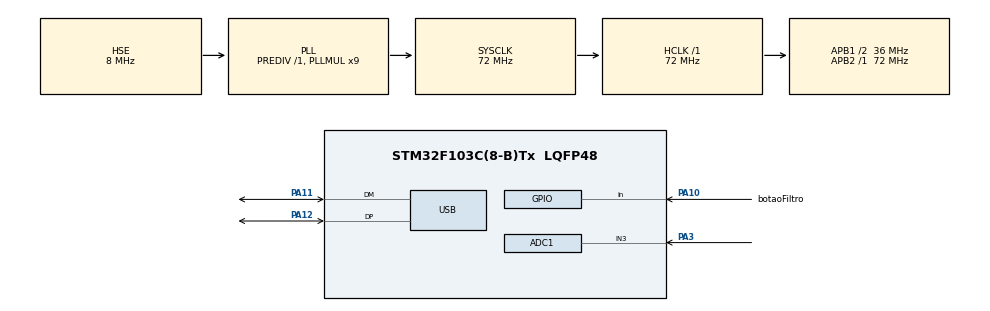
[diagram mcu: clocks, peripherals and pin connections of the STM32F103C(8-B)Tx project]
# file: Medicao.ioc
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ADC1.Channel-0\#ChannelRegularConversion=ADC_CHANNEL_3
ADC1.NbrOfConversionFlag=1
ADC1.Rank-0\#ChannelRegularConversion=1
ADC1.SamplingTime-0\#ChannelRegularConversion=ADC_SAMPLETIME_55CYCLES_5
ADC1.master=1
Mcu.Family=STM32F1
Mcu.Name=STM32F103C(8-B)Tx
Mcu.Package=LQFP48
NVIC.PriorityGroup=NVIC_PRIORITYGROUP_4
NVIC.USB_LP_CAN1_RX0_IRQn=true\:0\:0\:false\:false\:true\:false\:true
PA10.GPIO_Label=botaoFiltro
PA10.GPIO_PuPd=GPIO_PULLUP
PA10.Signal=GPIO_Input
PA11.Mode=Device
PA11.Signal=USB_DM
PA12.Mode=Device
PA12.Signal=USB_DP
PA13.Mode=Serial_Wire
PA13.Signal=SYS_JTMS-SWDIO
PA14.Mode=Serial_Wire
PA14.Signal=SYS_JTCK-SWCLK
PA3.Signal=ADCx_IN3
PD0-OSC_IN.Mode=HSE-External-Oscillator
PD0-OSC_IN.Signal=RCC_OSC_IN
PD1-OSC_OUT.Mode=HSE-External-Oscillator
PD1-OSC_OUT.Signal=RCC_OSC_OUT
ProjectManager.HeapSize=0x200
ProjectManager.StackSize=0x400
ProjectManager.TargetToolchain=STM32CubeIDE
RCC.ADCPresc=RCC_ADCPCLK2_DIV6
RCC.AHBFreq_Value=72000000
RCC.APB1CLKDivider=RCC_HCLK_DIV2
RCC.APB1Freq_Value=36000000
RCC.APB1TimFreq_Value=72000000
RCC.APB2Freq_Value=72000000
RCC.APB2TimFreq_Value=72000000
RCC.HCLKFreq_Value=72000000
RCC.PLLMUL=RCC_PLL_MUL9
RCC.SYSCLKFreq_VALUE=72000000
RCC.SYSCLKSource=RCC_SYSCLKSOURCE_PLLCLK
RCC.USBFreq_Value=48000000
RCC.USBPrescaler=RCC_USBCLKSOURCE_PLL_DIV1_5
SH.ADCx_IN3.0=ADC1_IN3,IN3
USB_DEVICE.CLASS_NAME_FS=CDC
USB_DEVICE.VirtualMode=Cdc
USB_DEVICE.VirtualModeFS=Cdc_FS
VP_USB_DEVICE_VS_USB_DEVICE_CDC_FS.Mode=CDC_FS
board=custom

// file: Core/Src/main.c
/* USER CODE BEGIN Header */
/**
  ******************************************************************************
  * @file           : main.c
  * @brief          : Main program body
  ******************************************************************************
  * @attention
  *
  * <h2><center>&copy; Copyright (c) 2026 STMicroelectronics.
  * All rights reserved.</center></h2>
  *
  * This software component is licensed by ST under BSD 3-Clause license,
  * the "License"; You may not use this file except in compliance with the
  * License. You may obtain a copy of the License at:
  *                        opensource.org/licenses/BSD-3-Clause
  *
  ******************************************************************************
  */
/* USER CODE END Header */
#include "main.h"
#include "usb_device.h"

/* USER CODE BEGIN Includes */
#include <stdio.h>
#include <stdint.h>
#include <stdbool.h>
#include "usbd_cdc_if.h"
/* USER CODE END Includes */

/* USER CODE BEGIN PD */
/* ==========================================================
 * PROTOCOLO PROPRIET�?RIO
 *
 * AA 01 02 FILTRO ADC_H ADC_L CHECKSUM CC
 *
 * Byte 0 = início
 * Byte 1 = versão
 * Byte 2 = tipo
 * Byte 3 = estado do filtro
 * Byte 4 = ADC alto
 * Byte 5 = ADC baixo
 * Byte 6 = checksum
 * Byte 7 = fim
 * ========================================================== */

#define BYTE_START             0xAA
#define VERSAO_PROTOCOLO       0x01
#define TIPO_LEITURA_SENSOR    0x02
#define BYTE_FIM               0xCC

#define TAMANHO_PACOTE         8

#define ADC_MIN                0
#define ADC_MAX                4095

#define TAMANHO_JANELA_MEDIA   5

#define CLICK_BOTAO  	HAL_GPIO_ReadPin(botaoFiltro_GPIO_Port, botaoFiltro_Pin)

/* USER CODE END PD */

ADC_HandleTypeDef hadc1;

/* USER CODE BEGIN PV */
static uint16_t buffer_media[TAMANHO_JANELA_MEDIA] = {0};

static uint8_t indice_buffer = 0;

static uint8_t buffer_cheio = 0;

uint32_t ultimoEnvio = 0;

uint8_t filtro_ativo = 0;
uint8_t botaoAnterior = 1;

/* USER CODE END PV */

void SystemClock_Config(void);
static void MX_GPIO_Init(void);
static void MX_ADC1_Init(void);
/* USER CODE BEGIN PFP */
void MontarPacote(uint16_t valor_adc, uint8_t filtro_ativo, uint8_t *pacote);

void AdicionarAmostra(uint16_t nova_amostra);

uint16_t CalcularMediaMovel(void);

uint8_t LerBotao(void);

uint8_t CalcularChecksum(uint8_t versao, uint8_t tipo, uint8_t filtro, uint8_t adc_alto, uint8_t adc_baixo);

/* USER CODE END PFP */

int main(void)
{

  /* MCU Configuration--------------------------------------------------------*/

  /* Reset of all peripherals, Initializes the Flash interface and the Systick. */
  HAL_Init();

  /* Configure the system clock */
  SystemClock_Config();

  /* Initialize all configured peripherals */
  MX_GPIO_Init();
  MX_ADC1_Init();
  MX_USB_DEVICE_Init();
  /* USER CODE BEGIN 2 */
  /* Estado atual do filtro */
  uint8_t filtro_ativo = 0;

  /* Pacote de transmissão */
  uint8_t pacote[TAMANHO_PACOTE];
  /* USER CODE END 2 */

  /* Infinite loop */
  /* USER CODE BEGIN WHILE */
  while (1)
  {
	  /* Verifica o botão continuamente */
	      if (LerBotao())
	      {
	          filtro_ativo = !filtro_ativo;

	          // Quando o filtro for ativado,
	             // começa uma nova janela de média.
	             if (filtro_ativo)
	             {
	                 indice_buffer = 0;
	                 buffer_cheio = 0;
	             }
	      }

	      /* A cada 1 segundo, faz uma nova leitura e envia para a porta COM */
	      if (HAL_GetTick() - ultimoEnvio >= 1000)
	      {
	          ultimoEnvio = HAL_GetTick();

	          HAL_ADC_Start(&hadc1);

	          if (HAL_ADC_PollForConversion(&hadc1, 10) == HAL_OK)
	          {
	              uint16_t leitura_bruta = HAL_ADC_GetValue(&hadc1);

	              /* Adiciona a leitura atual ao buffer */
	              AdicionarAmostra(leitura_bruta);

	              uint16_t valor_final;

	              if (filtro_ativo)
	              {
	                  valor_final = CalcularMediaMovel();
	              }
	              else
	              {
	                  valor_final = leitura_bruta;
	              }

	              /* Monta e envia o pacote */
	              MontarPacote(valor_final, filtro_ativo, pacote);

	              CDC_Transmit_FS(pacote, TAMANHO_PACOTE);
	          }

	          HAL_ADC_Stop(&hadc1);
	      }
    /* USER CODE END WHILE */

  }
}

void SystemClock_Config(void)
{
  RCC_OscInitTypeDef RCC_OscInitStruct = {0};
  RCC_ClkInitTypeDef RCC_ClkInitStruct = {0};
  RCC_PeriphCLKInitTypeDef PeriphClkInit = {0};

  /** Initializes the RCC Oscillators according to the specified parameters
  * in the RCC_OscInitTypeDef structure.
  */
  RCC_OscInitStruct.OscillatorType = RCC_OSCILLATORTYPE_HSE;
  RCC_OscInitStruct.HSEState = RCC_HSE_ON;
  RCC_OscInitStruct.HSEPredivValue = RCC_HSE_PREDIV_DIV1;
  RCC_OscInitStruct.HSIState = RCC_HSI_ON;
  RCC_OscInitStruct.PLL.PLLState = RCC_PLL_ON;
  RCC_OscInitStruct.PLL.PLLSource = RCC_PLLSOURCE_HSE;
  RCC_OscInitStruct.PLL.PLLMUL = RCC_PLL_MUL9;
  if (HAL_RCC_OscConfig(&RCC_OscInitStruct) != HAL_OK)
  {
    Error_Handler();
  }
  /** Initializes the CPU, AHB and APB buses clocks
  */
  RCC_ClkInitStruct.ClockType = RCC_CLOCKTYPE_HCLK|RCC_CLOCKTYPE_SYSCLK
                              |RCC_CLOCKTYPE_PCLK1|RCC_CLOCKTYPE_PCLK2;
  RCC_ClkInitStruct.SYSCLKSource = RCC_SYSCLKSOURCE_PLLCLK;
  RCC_ClkInitStruct.AHBCLKDivider = RCC_SYSCLK_DIV1;
  RCC_ClkInitStruct.APB1CLKDivider = RCC_HCLK_DIV2;
  RCC_ClkInitStruct.APB2CLKDivider = RCC_HCLK_DIV1;

  if (HAL_RCC_ClockConfig(&RCC_ClkInitStruct, FLASH_LATENCY_2) != HAL_OK)
  {
    Error_Handler();
  }
  PeriphClkInit.PeriphClockSelection = RCC_PERIPHCLK_ADC|RCC_PERIPHCLK_USB;
  PeriphClkInit.AdcClockSelection = RCC_ADCPCLK2_DIV6;
  PeriphClkInit.UsbClockSelection = RCC_USBCLKSOURCE_PLL_DIV1_5;
  if (HAL_RCCEx_PeriphCLKConfig(&PeriphClkInit) != HAL_OK)
  {
    Error_Handler();
  }
}

static void MX_ADC1_Init(void)
{

  ADC_ChannelConfTypeDef sConfig = {0};

  /** Common config
  */
  hadc1.Instance = ADC1;
  hadc1.Init.ScanConvMode = ADC_SCAN_DISABLE;
  hadc1.Init.ContinuousConvMode = DISABLE;
  hadc1.Init.DiscontinuousConvMode = DISABLE;
  hadc1.Init.ExternalTrigConv = ADC_SOFTWARE_START;
  hadc1.Init.DataAlign = ADC_DATAALIGN_RIGHT;
  hadc1.Init.NbrOfConversion = 1;
  if (HAL_ADC_Init(&hadc1) != HAL_OK)
  {
    Error_Handler();
  }
  /** Configure Regular Channel
  */
  sConfig.Channel = ADC_CHANNEL_3;
  sConfig.Rank = ADC_REGULAR_RANK_1;
  sConfig.SamplingTime = ADC_SAMPLETIME_55CYCLES_5;
  if (HAL_ADC_ConfigChannel(&hadc1, &sConfig) != HAL_OK)
  {
    Error_Handler();
  }

}

static void MX_GPIO_Init(void)
{
  GPIO_InitTypeDef GPIO_InitStruct = {0};

  /* GPIO Ports Clock Enable */
  __HAL_RCC_GPIOD_CLK_ENABLE();
  __HAL_RCC_GPIOA_CLK_ENABLE();

  /*Configure GPIO pin : botaoFiltro_Pin */
  GPIO_InitStruct.Pin = botaoFiltro_Pin;
  GPIO_InitStruct.Mode = GPIO_MODE_INPUT;
  GPIO_InitStruct.Pull = GPIO_PULLUP;
  HAL_GPIO_Init(botaoFiltro_GPIO_Port, &GPIO_InitStruct);

}

/* USER CODE BEGIN 4 */

uint8_t CalcularChecksum(uint8_t versao, uint8_t tipo, uint8_t filtro, uint8_t adc_alto, uint8_t adc_baixo)
{
    uint16_t soma = versao + tipo + filtro + adc_alto + adc_baixo;

    return (uint8_t)(soma & 0xFF);
}

void MontarPacote(uint16_t valor_adc, uint8_t filtro_ativo, uint8_t *pacote)
{
    if (valor_adc > ADC_MAX)
    {
        valor_adc = ADC_MAX;
    }

    uint8_t adc_alto = (uint8_t)((valor_adc >> 8) & 0xFF);

    uint8_t adc_baixo = (uint8_t)(valor_adc & 0xFF);

    uint8_t filtro_byte = filtro_ativo ? 0x01 : 0x00;

    uint8_t checksum = CalcularChecksum(VERSAO_PROTOCOLO, TIPO_LEITURA_SENSOR, filtro_byte, adc_alto, adc_baixo);

    pacote[0] = BYTE_START;
    pacote[1] = VERSAO_PROTOCOLO;
    pacote[2] = TIPO_LEITURA_SENSOR;
    pacote[3] = filtro_byte;
    pacote[4] = adc_alto;
    pacote[5] = adc_baixo;
    pacote[6] = checksum;
    pacote[7] = BYTE_FIM;
}

void AdicionarAmostra(uint16_t nova_amostra)
{
    buffer_media[indice_buffer] = nova_amostra;

    indice_buffer++;

    if (indice_buffer >= TAMANHO_JANELA_MEDIA)
    {
        indice_buffer = 0;
        buffer_cheio = 1;
    }
}
uint16_t CalcularMediaMovel(void)
{
    uint32_t soma = 0;

    uint8_t quantidade = buffer_cheio ? TAMANHO_JANELA_MEDIA : indice_buffer;

    if (quantidade == 0)
    {
        return 0;
    }

    for (uint8_t i = 0; i < quantidade; i++)
    {
        soma += buffer_media[i];
    }

    return (uint16_t)(soma / quantidade);
}

uint8_t LerBotao(void)
{
	uint8_t estadoAtual = HAL_GPIO_ReadPin(botaoFiltro_GPIO_Port, botaoFiltro_Pin);

	    uint8_t clique = 0;

	    // Detecta apenas a transição:
	    // solto -> pressionado
	    if (botaoAnterior == 1 &&
	        estadoAtual == 0)
	    {
	    	HAL_Delay(200);
	        clique = 1;
	    }

	    botaoAnterior = estadoAtual;

	    return clique;
}

/* USER CODE END 4 */

void Error_Handler(void)
{
  __disable_irq();
  while (1)
  {
  }
}

/************************ (C) COPYRIGHT STMicroelectronics *****END OF FILE****/
